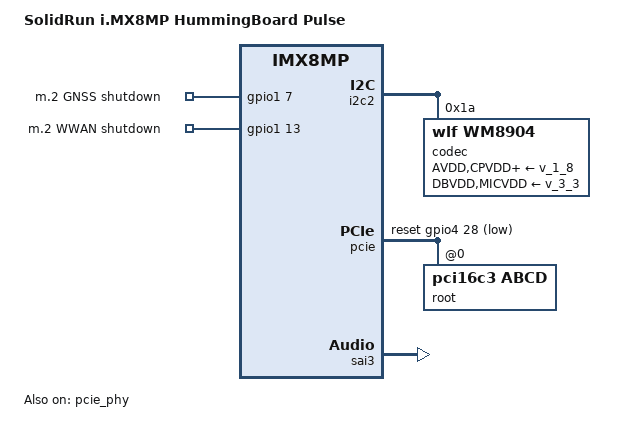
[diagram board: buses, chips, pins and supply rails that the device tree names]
// SPDX-License-Identifier: (GPL-2.0+ OR MIT)
/*
 * Copyright 2025 Josua Mayer <josua@solid-run.com>
 */

/dts-v1/;

#include <dt-bindings/phy/phy-imx8-pcie.h>

#define IMX8MP_SR_DTS_2025
#include "imx8mp-sr-som.dtsi"
#include "imx8mp-hummingboard-pulse-common.dtsi"
#include "imx8mp-hummingboard-pulse-hdmi.dtsi"
#include "imx8mp-hummingboard-pulse-mini-hdmi.dtsi"

/ {
	model = "SolidRun i.MX8MP HummingBoard Pulse";
	compatible = "solidrun,imx8mp-hummingboard-pulse",
		     "solidrun,imx8mp-sr-som", "fsl,imx8mp";

	aliases {
		ethernet0 = &eqos;
		ethernet1 = &pcie_eth;
	};

	rfkill-m2-gnss {
		compatible = "rfkill-gpio";
		pinctrl-names = "default";
		pinctrl-0 = <&m2_gnss_rfkill_pins>;
		label = "m.2 GNSS";
		radio-type = "gps";
		/* rfkill-gpio inverts internally */
		shutdown-gpios = <&gpio1 7 GPIO_ACTIVE_HIGH>;
	};

	/* M.2 is B-keyed, so w-disable is for WWAN */
	rfkill-m2-wwan {
		compatible = "rfkill-gpio";
		pinctrl-names = "default";
		pinctrl-0 = <&m2_wwan_rfkill_pins>;
		label = "m.2 WWAN";
		radio-type = "wwan";
		/* rfkill-gpio inverts internally */
		shutdown-gpios = <&gpio1 13 GPIO_ACTIVE_HIGH>;
	};

	sound-wm8904 {
		compatible = "fsl,imx-audio-wm8904";
		model = "audio-wm8904";
		audio-cpu = <&sai3>;
		audio-codec = <&codec>;
		audio-routing =
			"Headphone Jack", "HPOUTL",
			"Headphone Jack", "HPOUTR",
			"AMIC", "MICBIAS",
			"IN2R", "AMIC";
	};
};

&fec {
	/* this board does not use second phy / ethernet on SoM */
	status = "disabled";
};

&i2c2 {
	codec: codec@1a {
		#sound-dai-cells = <0>;
		compatible = "wlf,wm8904";
		reg = <0x1a>;
		clocks = <&audio_blk_ctrl IMX8MP_CLK_AUDIOMIX_SAI3_MCLK1>;
		clock-names = "mclk";
		AVDD-supply = <&v_1_8>;
		CPVDD-supply = <&v_1_8>;
		DBVDD-supply = <&v_3_3>;
		DCVDD-supply = <&v_1_8>;
		MICVDD-supply = <&v_3_3>;
	};
};

&iomuxc {
	pinctrl-names = "default";
	pinctrl-0 = <&mikro_pwm_pins>, <&mikro_int_pins>, <&hdmi_pins>,
		    <&m2_wwan_wake_pins>, <&m2_wwan_reset_pins>;

	sai3_pins: sai3-pins {
		fsl,pins = <
			MX8MP_IOMUXC_SAI3_MCLK__AUDIOMIX_SAI3_MCLK	0xd6
			MX8MP_IOMUXC_SAI3_TXFS__AUDIOMIX_SAI3_TX_SYNC	0xd6
			MX8MP_IOMUXC_SAI3_TXC__AUDIOMIX_SAI3_TX_BCLK	0xd6
			MX8MP_IOMUXC_SAI3_TXD__AUDIOMIX_SAI3_TX_DATA00	0xd6
			MX8MP_IOMUXC_SAI3_RXD__AUDIOMIX_SAI3_RX_DATA00	0xd6
		>;
	};

	m2_gnss_rfkill_pins: m2-gnss-rfkill-pins {
		fsl,pins = <
			MX8MP_IOMUXC_GPIO1_IO07__GPIO1_IO07		0x0
		>;
	};

	m2_wwan_rfkill_pins: m2-wwan-rfkill-pins {
		fsl,pins = <
			MX8MP_IOMUXC_GPIO1_IO13__GPIO1_IO13		0x0
		>;
	};

	m2_wwan_wake_pins: m2-wwan-wake-pins {
		fsl,pins = <
			MX8MP_IOMUXC_GPIO1_IO12__GPIO1_IO12		0x0
		>;
	};

	m2_wwan_reset_pins: m2-wwan-reset-pins {
		fsl,pins = <
			/*
			 * 3.3V domain on SoC, set open-drain to ensure
			 * 1.8V logic on connector
			 */
			MX8MP_IOMUXC_GPIO1_IO06__GPIO1_IO06		0x20
		>;
	};
};

&pcie {
	pinctrl-0 = <&pcie_pins>;
	pinctrl-names = "default";
	reset-gpio = <&gpio4 28 GPIO_ACTIVE_LOW>;
	status = "okay";

	root@0,0 {
		compatible = "pci16c3,abcd";
		reg = <0x00000000 0 0 0 0>;

		#address-cells = <3>;
		#size-cells = <2>;

		/* Intel i210 */
		pcie_eth: ethernet@1,0 {
			compatible = "pci8086,157b";
			reg = <0x00010000 0 0 0 0>;
		};
	};
};

&pcie_phy {
	clocks = <&hsio_blk_ctrl>;
	clock-names = "ref";
	fsl,clkreq-unsupported;
	fsl,refclk-pad-mode = <IMX8_PCIE_REFCLK_PAD_OUTPUT>;
	status = "okay";
};

&sai3 {
	pinctrl-names = "default";
	pinctrl-0 = <&sai3_pins>;
	assigned-clocks = <&clk IMX8MP_CLK_SAI3>;
	assigned-clock-parents = <&clk IMX8MP_AUDIO_PLL1_OUT>;
	assigned-clock-rates = <12288000>;
	clocks = <&audio_blk_ctrl IMX8MP_CLK_AUDIOMIX_SAI3_IPG>, <&clk IMX8MP_CLK_DUMMY>,
		 <&audio_blk_ctrl IMX8MP_CLK_AUDIOMIX_SAI3_MCLK1>, <&clk IMX8MP_CLK_DUMMY>,
		 <&clk IMX8MP_CLK_DUMMY>;
	clock-names = "bus", "mclk0", "mclk1", "mclk2", "mclk3";
	fsl,sai-mclk-direction-output;
	status = "okay";
};
